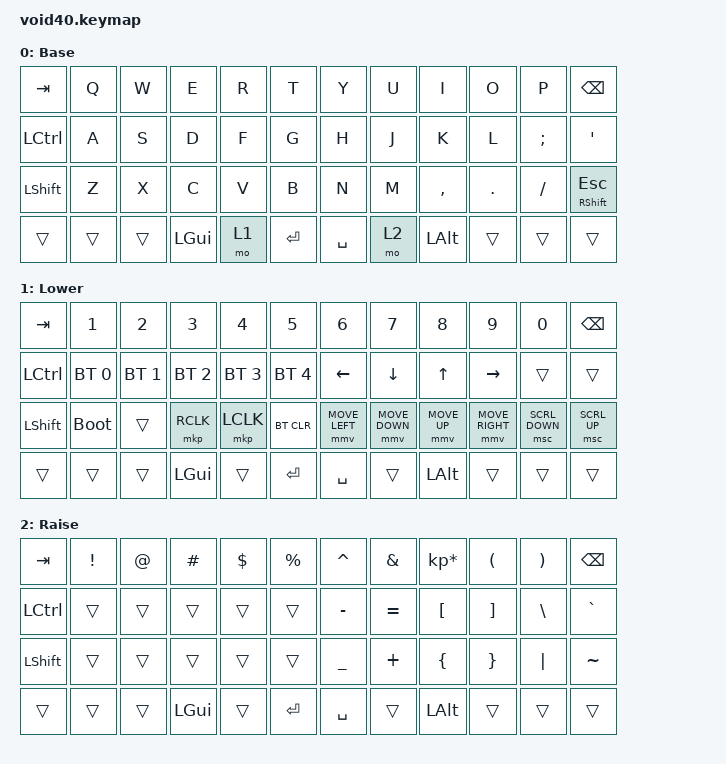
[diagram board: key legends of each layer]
/*
 * Copyright (c) 2020 The ZMK Contributors
 *
 * SPDX-License-Identifier: MIT
 */

#include <behaviors.dtsi>
#include <dt-bindings/zmk/keys.h>
#include <dt-bindings/zmk/bt.h>
#include <dt-bindings/zmk/mouse.h>
#include <behaviors/mouse_move.dtsi>
#include <behaviors/mouse_scroll.dtsi>

/ {
        behaviors {

                //////////////////////////////////////////////////////////////////////////
                //
                // Miryoku layers and home row mods (ported from my QMK endgame)
                // - https://sunaku.github.io/home-row-mods.html#porting-to-zmk
                // - https://github.com/urob/zmk-config#timeless-homerow-mods
                //
                //////////////////////////////////////////////////////////////////////////

                //
                // HOMEY_HOLDING_TYPE defines the flavor of ZMK hold-tap behavior to use
                // for the pinky, ring, and middle fingers (which are assigned to Super,
                // Alt, and Ctrl respectively in the Miryoku system) on home row keys.
                //
                #ifndef HOMEY_HOLDING_TYPE
                #define HOMEY_HOLDING_TYPE "tap-preferred"
                #endif

                //
                // HOMEY_HOLDING_TIME defines how long you need to hold (milliseconds)
                // home row mod keys in order to send their modifiers to the computer
                // (i.e. "register" them) for mod-click mouse usage (e.g. Ctrl-Click).
                //
                #ifndef HOMEY_HOLDING_TIME
                #define HOMEY_HOLDING_TIME 270 // TAPPING_TERM + ALLOW_CROSSOVER_AFTER
                #endif

                //
                // HOMEY_STREAK_DECAY defines how long you need to wait (milliseconds)
                // after typing before you can use home row mods again.  It prevents
                // unintended activation of home row mods when you're actively typing.
                //
                #ifndef HOMEY_STREAK_DECAY
                #define HOMEY_STREAK_DECAY 170 // global-quick-tap-ms
                #endif

                //
                // HOMEY_REPEAT_DECAY defines how much time you have left (milliseconds)
                // after tapping a key to hold it again in order to make it auto-repeat.
                //
                #ifndef HOMEY_REPEAT_DECAY
                #define HOMEY_REPEAT_DECAY 300 // "tap then hold" for key auto-repeat
                #endif

                //
                // SHIFT_HOLDING_TYPE defines the flavor of ZMK hold-tap behavior to use
                // for index fingers (which Miryoku assigns to Shift) on home row keys.
                //
                // NOTE: The "tap-preferred" flavor of ZMK hold-tap for index finger keys
                // allows faster activation of the Shift modifier (without having to wait
                // for the modified key to be released as the "balanced" flavor requires).
                // Typing streaks and the `hold-trigger-on-release` setting are disabled
                // for the index fingers so as not to hinder their speed and dexterity.
                //
                #ifndef SHIFT_HOLDING_TYPE
                #define SHIFT_HOLDING_TYPE "tap-preferred"
                #endif

                //
                // SHIFT_HOLDING_TIME defines how long you need to hold (milliseconds)
                // index finger keys in order to send their modifiers to the computer
                // (i.e. "register" them) for mod-click mouse usage (e.g. Shift-Click).
                //
                // CAUTION: You'll need to perform inward rolls from pinky->ring->middle
                // fingers toward the index fingers when activating multiple modifiers
                // because `hold-trigger-on-release` is disabled for the index fingers.
                // Otherwise, you may be surprised that the index fingers' modifier is
                // sent immediately without the rest of your multi-mod chord when you
                // perform outward rolls from your index fingers toward your pinkies.
                //
                #ifndef SHIFT_HOLDING_TIME
                #define SHIFT_HOLDING_TIME 170
                #endif

                //
                // SHIFT_STREAK_DECAY defines how long you need to wait (milliseconds)
                // after typing before you can use home row mods again.  It prevents
                // unintended activation of home row mods when you're actively typing.
                //
                #ifndef SHIFT_STREAK_DECAY
                #define SHIFT_STREAK_DECAY 70 // global-quick-tap-ms
                #endif

                //
                // SHIFT_REPEAT_DECAY defines how much time you have left (milliseconds)
                // after tapping a key to hold it again in order to make it auto-repeat.
                //
                #ifndef SHIFT_REPEAT_DECAY
                #define SHIFT_REPEAT_DECAY 300 // "tap then hold" for key auto-repeat
                #endif

                //
                // THUMB_HOLDING_TYPE defines the flavor of ZMK hold-tap behavior to use
                // for the thumbs (which are assigned to 6 layers in the Miryoku system).
                //
                // NOTE: The "balanced" flavor of ZMK hold-tap provides instant modifier
                // activation for the symbol layer (if the tapped symbol key is released
                // while the thumb layer key is still held down) for quicker programming.
                //
                #ifndef THUMB_HOLDING_TYPE
                #define THUMB_HOLDING_TYPE "balanced"
                #endif

                //
                // THUMB_HOLDING_TIME defines how long you need to hold (milliseconds)
                // a thumb key to activate a layer.  Shorter holds are treated as taps.
                //
                #ifndef THUMB_HOLDING_TIME
                #define THUMB_HOLDING_TIME 200
                #endif

                //
                // THUMB_REPEAT_DECAY defines how much time you have left (milliseconds)
                // after tapping a key to hold it again in order to make it auto-repeat.
                //
                #ifndef THUMB_REPEAT_DECAY
                #define THUMB_REPEAT_DECAY 300 // "tap then hold" for key auto-repeat
                #endif

                //
                // SPACE_HOLDING_TIME defines how long you need to hold (milliseconds)
                // the space thumb key to activate.  Shorter holds are treated as taps.
                //
                #ifndef SPACE_HOLDING_TIME
                #define SPACE_HOLDING_TIME 170
                #endif

                //
                // SPACE_REPEAT_DECAY defines how much time you have left (milliseconds)
                // after tapping a key to hold it again in order to make it auto-repeat.
                //
                #ifndef SPACE_REPEAT_DECAY
                #define SPACE_REPEAT_DECAY 200 // "tap then hold" for key auto-repeat
                #endif

                //
                // Corne key positions index for positional hold-tap
                // - https://discord.com/channels/877392805654306816/937645688244826154/1066713913351221248
                // - https://media.discordapp.net/attachments/937645688244826154/1066713913133121556/image.png
                //
                // |------------------------|------------------------|
                // | LEFT_HAND_KEYS         |        RIGHT_HAND_KEYS |
                // |                        |                        |
                // |  0  1  2  3  4  5      |      6  7  8  9  10 11 |
                // | 12 13 14 15 16 17      |      18 19 20 21 22 23 |
                // | 24 25 26 27 28 29      |      30 31 32 33 34 35 |
                // | 36 37 38 39 40 41      |      42 43 44 45 46 47 |
                // |------------------------|------------------------|
                //
                #define LEFT_HAND_KEYS         \
                         0  1  2  3  4  5      \
                        12 13 14 15 16 17      \
                        24 25 26 27 28 29      \
                #define RIGHT_HAND_KEYS        \
                                         6  7  8  9 10 11 \
                                        18 19 20 21 22 23 \
                                        30 31 32 33 34 35 \
                #define THUMB_KEYS          \
                                36 37 38 39 40 41   42 43 44 45 46 47          \

                //
                // Home row mod-tap keys for all except index fingers
                //
                hml: corne_home_row_mods_left_hand {
                        compatible = "zmk,behavior-hold-tap";
                        label = "HOME_ROW_MODS_LEFT_HAND";
                        flavor = HOMEY_HOLDING_TYPE;
                        hold-trigger-key-positions = <6  7  8  9 10 11
                                                     18 19 20 21 22 23
                                                     30 31 32 33 34 35
                                                     36 37 38 39 40 41 42 43 44 45 46 47>;
                        hold-trigger-on-release; // wait for other home row mods
                        tapping-term-ms = <HOMEY_HOLDING_TIME>;
                        quick-tap-ms = <HOMEY_REPEAT_DECAY>;
                        require-prior-idle-ms = <HOMEY_STREAK_DECAY>;
                        #binding-cells = <2>;
                        bindings = <&kp>, <&kp>;
                };
                 hmr: corne_home_row_mods_right_hand {
                        compatible = "zmk,behavior-hold-tap";
                        label = "HOME_ROW_MODS_RIGHT_HAND";
                        flavor = HOMEY_HOLDING_TYPE;
                        hold-trigger-key-positions = <0  1  2  3  4  5
                                                     12 13 14 15 16 17
                                                     24 25 26 27 28 29
                                                     36 37 38 39 40 41 42 43 44 45 46 47>;
                        hold-trigger-on-release; // wait for other home row mods
                        tapping-term-ms = <HOMEY_HOLDING_TIME>;
                        quick-tap-ms = <HOMEY_REPEAT_DECAY>;
                        require-prior-idle-ms = <HOMEY_STREAK_DECAY>;
                        #binding-cells = <2>;
                        bindings = <&kp>, <&kp>;
                 };

                //
                // Special home row mod-tap keys for the index fingers
                //
                shl: corne_home_row_mods_left_shift_shift {
                        compatible = "zmk,behavior-hold-tap";
                        label = "HOME_ROW_MODS_LEFT_SHIFT_SHIFT";
                        flavor = SHIFT_HOLDING_TYPE;
                        hold-trigger-key-positions = <6  7  8  9 10 11
                                                     18 19 20 21 22 23
                                                     30 31 32 33 34 35
                                                     36 37 38 39 40 41 42 43 44 45 46 47>;
                        //hold-trigger-on-release; // don't wait for other mods
                        tapping-term-ms = <SHIFT_HOLDING_TIME>;
                        quick-tap-ms = <SHIFT_REPEAT_DECAY>;
                        require-prior-idle-ms = <SHIFT_STREAK_DECAY>;
                        #binding-cells = <2>;
                        bindings = <&kp>, <&kp>;
                };
                shr: corne_home_row_mods_right_shift_shift {
                        compatible = "zmk,behavior-hold-tap";
                        label = "HOME_ROW_MODS_RIGHT_SHIFT_SHIFT";
                        flavor = SHIFT_HOLDING_TYPE;
                        hold-trigger-key-positions = <0  1  2  3  4  5
                                                     12 13 14 15 16 17
                                                     24 25 26 27 28 29
                                                     36 37 38 39 40 41 42 43 44 45 46 47>;
                        //hold-trigger-on-release; // don't wait for other mods
                        tapping-term-ms = <SHIFT_HOLDING_TIME>;
                        quick-tap-ms = <SHIFT_REPEAT_DECAY>;
                        require-prior-idle-ms = <SHIFT_STREAK_DECAY>;
                        #binding-cells = <2>;
                        bindings = <&kp>, <&kp>;
                };
        };

        macros {
                ctrl_shft_esc: ctrl_shft_esc {
                        compatible = "zmk,behavior-macro";
                        #binding-cells = <0>;
                        bindings
                                = <&macro_press &kp LCTRL &kp LSHFT>
                                , <&macro_tap &kp ESC>
                                , <&macro_release &kp LCTRL &kp LSHFT>
                                ;
                        };
                };

        combos {
                compatible = "zmk,combos";
                combo_tab {
                        timeout-ms = <50>;
                        key-positions = <1 2>;
                        bindings = <&kp TAB>;
                        layers = <0 1 2 3>;
                };
                combo_bspc {
                        timeout-ms = <50>;
                        key-positions = <9 10>;
                        bindings = <&kp BSPC>;
                        layers = <0 1 2 3>;
                };
                combo_sqt {
                        timeout-ms = <50>;
                        key-positions = <21 22>;
                        bindings = <&kp SQT>;
                        layers = <0>;
                };
                combo_star {
                        timeout-ms = <50>;
                        key-positions = <21 22>;
                        bindings = <&kp STAR>;
                        layers = <1>;
                };
                combo_esc {
                        timeout-ms = <50>;
                        key-positions = <33 34>;
                        bindings = <&kp ESC>;
                        layers = <0 3>;
                };
        };

        keymap {
                compatible = "zmk,keymap";

        default_layer {
            // -----------------------------------------------------------------------------------------
            // |  TAB |  Q  |  W  |  E  |  R  |  T  |   |  Y  |  U   |  I  |  O  |  P  | BKSP |
            // | CTRL |  A  |  S  |  D  |  F  |  G  |   |  H  |  J   |  K  |  L  |  ;  |  '   |
            // | SHFT |  Z  |  X  |  C  |  V  |  B  |   |  N  |  M   |  ,  |  .  |  /  | ESC  |
            // |      |     |     | GUI | LWR | SPC |   | ENT | RSE  | ALT |     |     |      |

            display-name = "Base";
            bindings = <
&kp TAB    &kp Q  &kp W  &kp E     &kp R  &kp T      &kp Y      &kp U  &kp I      &kp O    &kp P     &kp BSPC
&kp LCTRL  &kp A  &kp S  &kp D     &kp F  &kp G      &kp H      &kp J  &kp K      &kp L    &kp SEMI  &kp SQT
&kp LSHFT  &kp Z  &kp X  &kp C     &kp V  &kp B      &kp N      &kp M  &kp COMMA  &kp DOT  &kp FSLH  &mt RIGHT_SHIFT ESC
&trans     &trans &trans &kp LGUI  &mo 1  &kp RET    &kp SPACE  &mo 2  &kp LALT   &trans  &trans     &trans
            >;
        };

        lower_layer {
            // -----------------------------------------------------------------------------------------
            // |  TAB |  1  |  2  |  3  |  4  |  5  |   |  6  |  7  |  8  |  9  |  0  | BKSP |
            // | CTRL | BT1 | BT2 | BT3 | BT4 | BT5 |   | LFT | DWN |  UP | RGT |     |      |
            // | SHFT |     |     |     |     |BTCLR|   |     |     |     |     |     |      |
            // |      |     |     | GUI |     | SPC |   | ENT |     | ALT |     |     |      |

            display-name = "Lower";
            bindings = <
&kp TAB    &kp N1        &kp N2        &kp N3        &kp N4        &kp N5          &kp N6    &kp N7    &kp N8        &kp N9     &kp N0  &kp BSPC
&kp LCTRL  &bt BT_SEL 0  &bt BT_SEL 1  &bt BT_SEL 2  &bt BT_SEL 3  &bt BT_SEL 4    &kp LEFT  &kp DOWN  &kp UP        &kp RIGHT  &trans  &trans
&kp LSHFT  &bootloader   &trans        &mkp RCLK     &mkp LCLK     &bt BT_CLR      &mmv MOVE_LEFT &mmv MOVE_DOWN &mmv MOVE_UP &mmv MOVE_RIGHT &msc SCRL_DOWN &msc SCRL_UP
&trans     &trans        &trans        &kp LGUI      &trans        &kp RET         &kp SPACE   &trans    &kp LEFT_ALT &trans     &trans  &trans
            >;
        };

        raise_layer {
            // -----------------------------------------------------------------------------------------
            // |  TAB |  !  |  @  |  #  |  $  |  %  |   |  ^  |  &  |  *  |  (  |  )  | BKSP |
            // | CTRL |     |     |     |     |     |   |  -  |  =  |  [  |  ]  |  \  |  `   |
            // | SHFT |     |     |     |     |     |   |  _  |  +  |  {  |  }  | "|" |  ~   |
            // |      |     |     | GUI |     | SPC |   | ENT |     | ALT |     |     |      |

            display-name = "Raise";
            bindings = <
&kp TAB    &kp EXCL  &kp AT  &kp HASH  &kp DLLR  &kp PRCNT    &kp CARET  &kp AMPS   &kp KP_MULTIPLY  &kp LPAR  &kp RPAR  &kp BSPC
&kp LCTRL  &trans    &trans  &trans    &trans    &trans       &kp MINUS  &kp EQUAL  &kp LBKT         &kp RBKT  &kp BSLH  &kp GRAVE
&kp LSHFT  &trans    &trans  &trans    &trans    &trans       &kp UNDER  &kp PLUS   &kp LBRC         &kp RBRC  &kp PIPE  &kp TILDE
&trans     &trans    &trans  &kp LGUI  &trans    &kp RET      &kp SPACE  &trans     &kp LEFT_ALT     &trans     &trans    &trans
            >;
                };
        };
};
